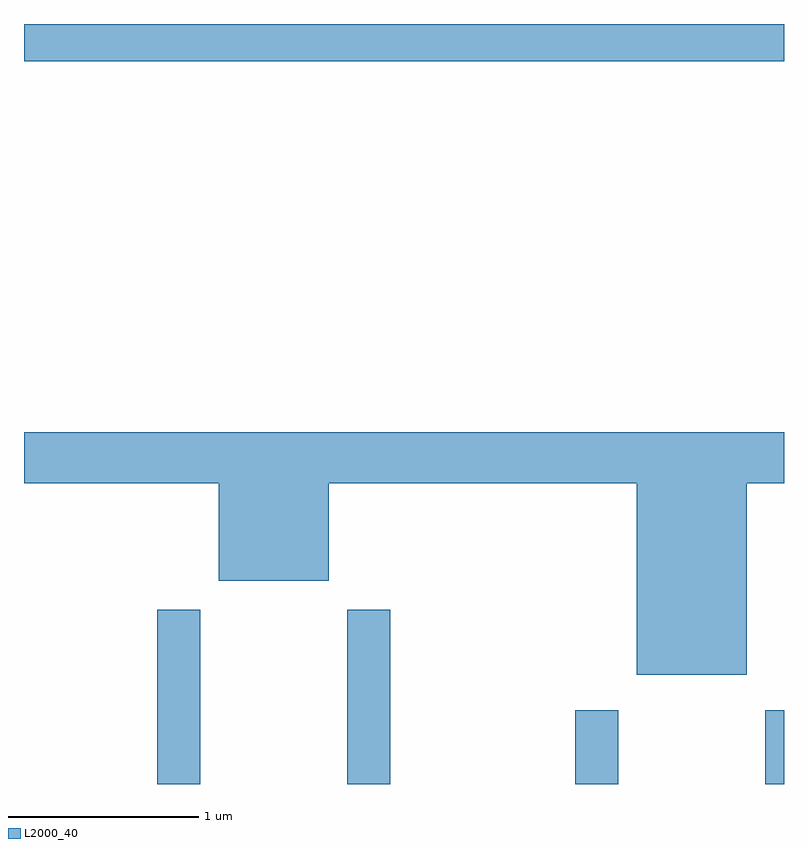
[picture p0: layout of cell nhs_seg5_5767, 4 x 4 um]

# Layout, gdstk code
import gdstk
lib = gdstk.Library(unit=1e-6, precision=1e-09)
def R(c, l, rs):  # rectangles x0, y0, x1, y1
    for r in rs: c.add(gdstk.rectangle(r[:2], r[2:], *l))
def P(c, l, *ps):  # polygons
    for p in ps: c.add(gdstk.Polygon(p, *l))
L2000_40 = (2000, 40)

nhs_seg5_5767 = lib.new_cell('nhs_seg5_5767')
R(nhs_seg5_5767, L2000_40, [(356.311,1484.072,356.539,1484.989), (357.311,1484.072,357.539,1484.989), (358.511,1484.072,358.739,1484.459), (359.511,1484.072,359.611,1484.459), (355.611,1487.876,359.611,1488.072)])
P(nhs_seg5_5767, L2000_40, [(359.414,1485.656),(359.611,1485.656),(359.611,1485.924),(355.611,1485.924),(355.611,1485.656),(356.636,1485.656),(356.636,1485.141),(357.214,1485.141),(357.214,1485.656),(358.836,1485.656),(358.836,1484.646),(359.414,1484.646)])

lib.write_gds('nhs_seg5_5767.gds')
